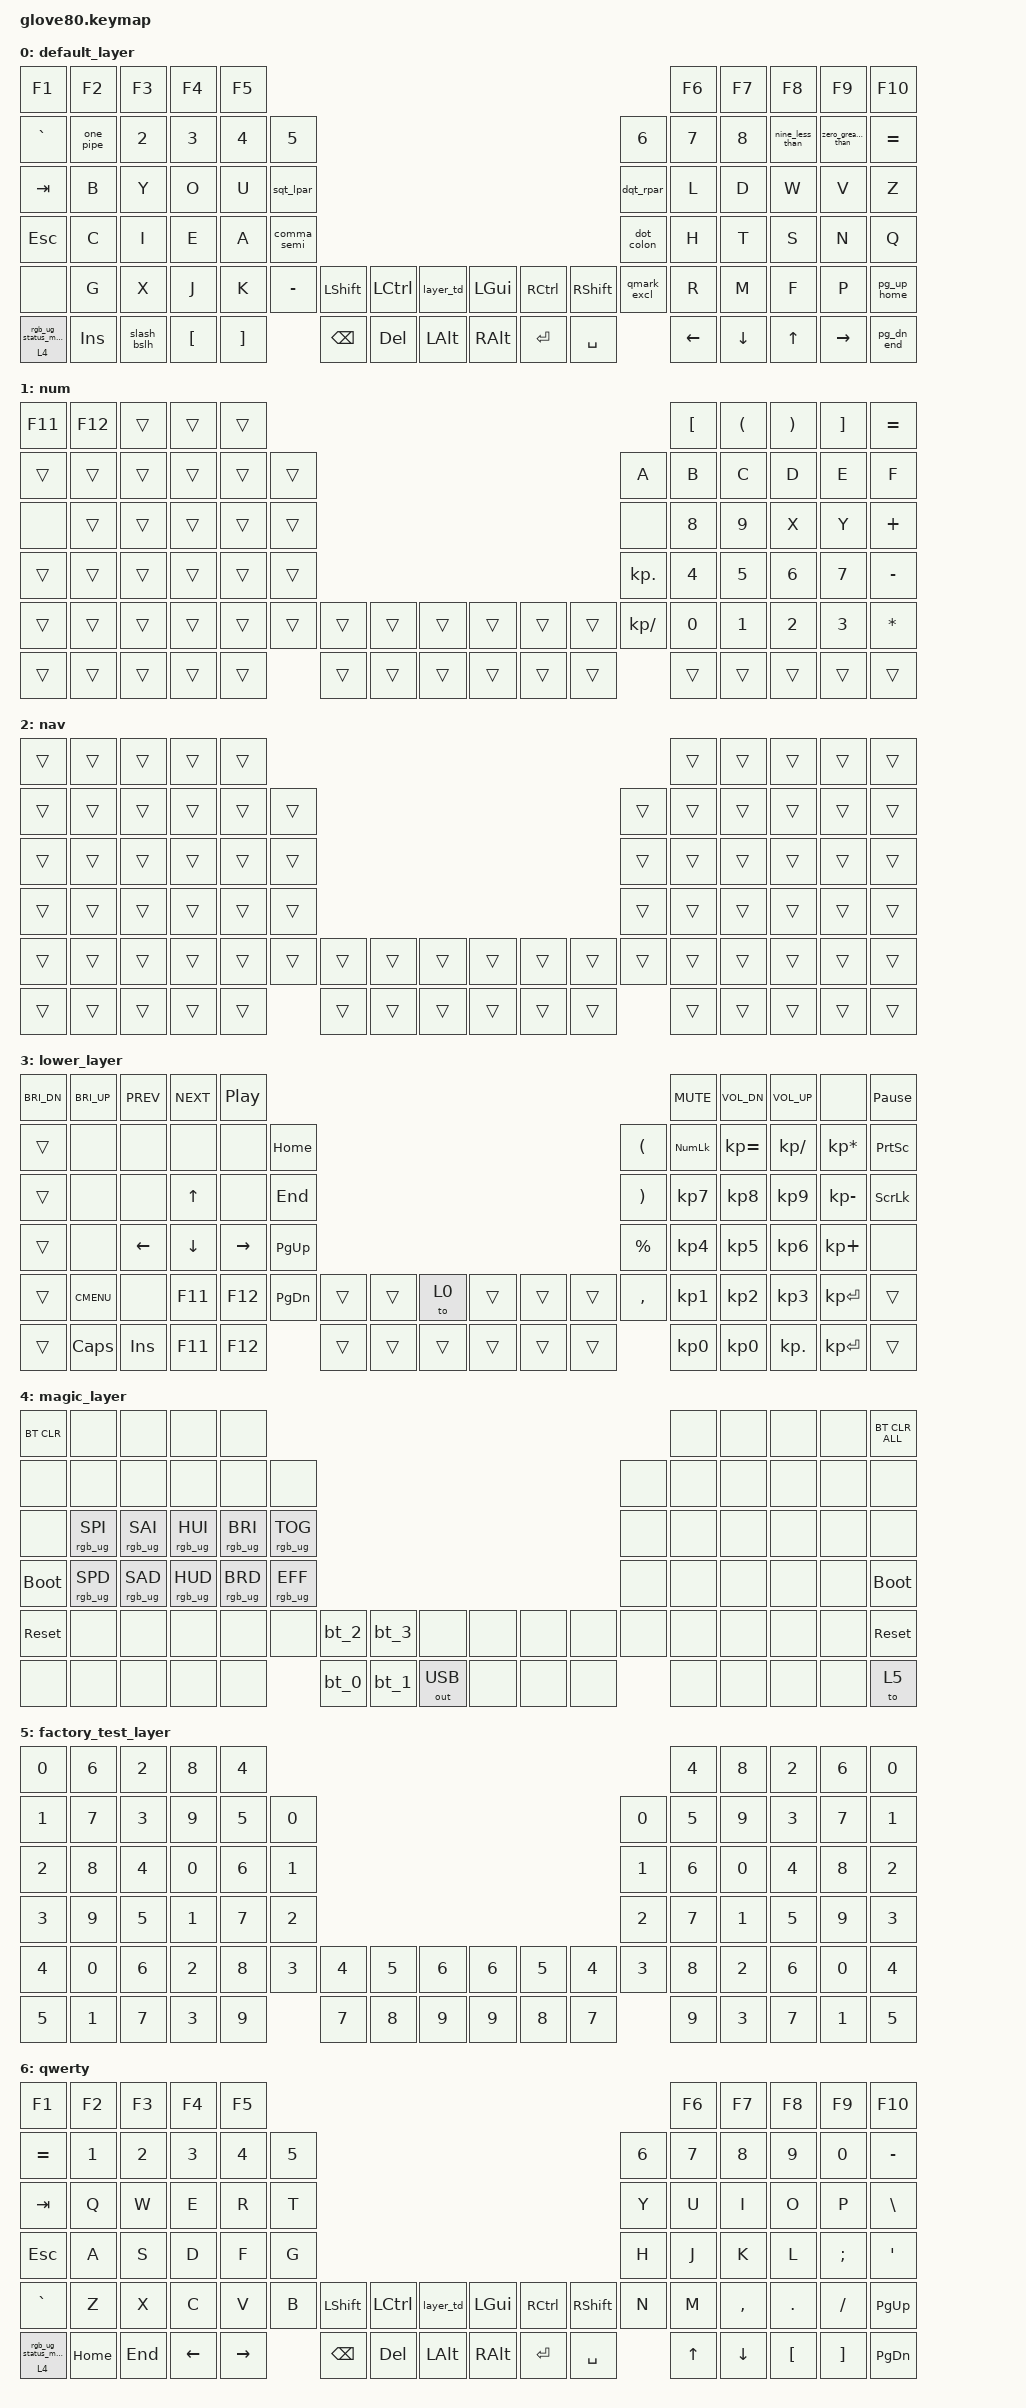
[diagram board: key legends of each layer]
/*
 * Copyright (c) 2020 The ZMK Contributors
 *
 * SPDX-License-Identifier: MIT
 */

#include "keys_dvorak.h"
#include "keys_ru.h"
#include <behaviors.dtsi>
#include <dt-bindings/zmk/bt.h>
#include <dt-bindings/zmk/keys.h>
#include <dt-bindings/zmk/outputs.h>
#include <dt-bindings/zmk/rgb.h>

#define HYPER LC(LS(LG(LALT)))

// layers

#define DEFAULT 0
#define LOWER 1
#define MAGIC 2
#define FACTORY_TEST 3

/ {
    behaviors {
        // For the "layer" key, it'd nice to be able to use it as either a shift or a toggle.
        // Configure it as a tap dance, so the first tap (or hold) is a &mo and the second tap is a &to

        layer_td: tap_dance_0 {
            compatible = "zmk,behavior-tap-dance";
            label = "LAYER_TAP_DANCE";
            #binding-cells = <0>;
            tapping-term-ms = <200>;
            bindings = <&mo 3>, <&to 3>;
        };

        magic: magic_hold_tap {
            compatible = "zmk,behavior-hold-tap";
            label = "MAGIC_HOLD_TAP";
            #binding-cells = <2>;
            flavor = "tap-preferred";
            tapping-term-ms = <200>;
            bindings = <&mo>, <&rgb_ug_status_macro>;
        };

        one_pipe: one_pipe {
            compatible = "zmk,behavior-mod-morph";
            label = "ONE_PIPE";
            bindings = <&kp N1>, <&kp PIPE>;

            #binding-cells = <0>;
            mods = <(MOD_LSFT|MOD_RSFT)>;
        };

        sqt_lpar: sqt_lpar {
            compatible = "zmk,behavior-mod-morph";
            label = "SQT_LPAR";
            bindings = <&kp SQT>, <&kp LPAR>;

            #binding-cells = <0>;
            mods = <(MOD_LSFT|MOD_RSFT)>;
        };

        comma_semi: comma_semi {
            compatible = "zmk,behavior-mod-morph";
            label = "COMMA_SEMI";
            bindings = <&kp COMMA>, <&kp SEMI>;

            #binding-cells = <0>;
            mods = <(MOD_LSFT|MOD_RSFT)>;
        };

        slash_bslh: slash_bslh {
            compatible = "zmk,behavior-mod-morph";
            label = "SLASH_BSLH";
            bindings = <&kp SLASH>, <&kp BSLH>;

            #binding-cells = <0>;
            mods = <(MOD_LSFT|MOD_RSFT)>;
        };

        nine_less_than: nine_less_than {
            compatible = "zmk,behavior-mod-morph";
            label = "NINE_LESS_THAN";
            bindings = <&kp N9>, <&kp LT>;

            #binding-cells = <0>;
            mods = <(MOD_LSFT|MOD_RSFT)>;
        };

        zero_greater_than: zero_greater_than {
            compatible = "zmk,behavior-mod-morph";
            label = "ZERO_GREATER_THAN";
            bindings = <&kp N0>, <&kp GT>;

            #binding-cells = <0>;
            mods = <(MOD_LSFT|MOD_RSFT)>;
        };

        dqt_rpar: dqt_rpar {
            compatible = "zmk,behavior-mod-morph";
            label = "DQT_RPAR";
            bindings = <&kp DQT>, <&kp RPAR>;

            #binding-cells = <0>;
            mods = <(MOD_LSFT|MOD_RSFT)>;
        };

        dot_colon: dot_colon {
            compatible = "zmk,behavior-mod-morph";
            label = "DOT_COLON";
            bindings = <&kp DOT>, <&kp COLON>;

            #binding-cells = <0>;
            mods = <(MOD_LSFT|MOD_RSFT)>;
        };

        qmark_excl: qmark_excl {
            compatible = "zmk,behavior-mod-morph";
            label = "QMARK_EXCL";
            bindings = <&kp QUESTION>, <&kp HOME>;

            #binding-cells = <0>;
            mods = <(MOD_LSFT|MOD_RSFT)>;
        };

        pg_up_home: pg_up_home {
            compatible = "zmk,behavior-mod-morph";
            label = "PG_UP_HOME";
            bindings = <&kp PG_UP>, <&kp HOME>;

            #binding-cells = <0>;
            mods = <(MOD_LSFT|MOD_RSFT)>;
        };

        pg_dn_end: pg_dn_end {
            compatible = "zmk,behavior-mod-morph";
            label = "PG_DN_END";
            bindings = <&kp PG_DN>, <&kp END>;

            #binding-cells = <0>;
            mods = <(MOD_LSFT|MOD_RSFT)>;
        };
    };

    macros {
        rgb_ug_status_macro: rgb_ug_status_macro_0 {
            label = "RGB_UG_STATUS";
            compatible = "zmk,behavior-macro";
            #binding-cells = <0>;
            bindings = <&rgb_ug RGB_STATUS>;
        };

        bt_0: bt_profile_macro_0 {
            label = "BT_0";
            compatible = "zmk,behavior-macro";
            #binding-cells = <0>;
            bindings = <&out OUT_BLE &bt BT_SEL 0>;
        };

        bt_1: bt_profile_macro_1 {
            label = "BT_1";
            compatible = "zmk,behavior-macro";
            #binding-cells = <0>;
            bindings = <&out OUT_BLE &bt BT_SEL 1>;
        };

        bt_2: bt_profile_macro_2 {
            label = "BT_2";
            compatible = "zmk,behavior-macro";
            #binding-cells = <0>;
            bindings = <&out OUT_BLE &bt BT_SEL 2>;
        };

        bt_3: bt_profile_macro_3 {
            label = "BT_3";
            compatible = "zmk,behavior-macro";
            #binding-cells = <0>;
            bindings = <&out OUT_BLE &bt BT_SEL 3>;
        };
    };

    keymap {
        compatible = "zmk,keymap";

        default_layer {
            // ---------------------------------------------------------------------------------------------------------------------------------
            // |  F1   |  F2 |  F3 |  F4  |  F5  |                                                               |  F6   |  F7   |  F8  |   F9  |  F10 |
            // |  =    |  1  |  2  |  3   |  4   |  5   |                                                 |  6   |   7   |   8   |  9   |   0   |   -  |
            // |  TAB  |  Q  |  W  |  E   |  R   |  T   |                                                 |  Y   |   U   |   I   |  O   |   P   |   \  |
            // |  ESC  |  A  |  S  |  D   |  F   |  G   |                                                 |  H   |   J   |   K   |  L   |   ;   |   '  |
            // |   `   |  Z  |  X  |  C   |  V   |  B   | LSHFT | LCTRL | LOWER | | LGUI  | RCTRL | RSHFT |  N   |   M   |   ,   |  .   |   /   | PGUP |
            // | MAGIC | HOME| END | LEFT | RIGHT|      | BSPC  | DEL   | LALT  | | RALT  | RET   | SPACE |      |  UP   | DOWN  |  [   |   ]   | PGDN |

            bindings = <
&kp F1      &kp F2     &kp F3       &kp F4            &kp F5                                                                                                        &kp F6          &kp F7    &kp F8           &kp F9              &kp F10
&kp GRAVE   &one_pipe  &kp N2       &kp N3            &kp N4             &kp N5                                                                        &kp N6       &kp N7          &kp N8    &nine_less_than  &zero_greater_than  &kp EQUAL
&kp TAB     &kp B      &kp Y        &kp O             &kp U              &sqt_lpar                                                                     &dqt_rpar    &kp L           &kp D     &kp W            &kp V               &kp Z
&kp ESC     &kp C      &kp I        &kp E             &kp A              &comma_semi                                                                   &dot_colon   &kp H           &kp T     &kp S            &kp N               &kp Q
&none       &kp G      &kp X        &kp J             &kp K              &kp MINUS    &kp LSHFT  &kp LCTRL  &layer_td  &kp LGUI  &kp RCTRL  &kp RSHFT  &qmark_excl  &kp R           &kp M     &kp F            &kp P               &pg_up_home
&magic 4 0  &kp INS    &slash_bslh  &kp LEFT_BRACKET  &kp RIGHT_BRACKET               &kp BSPC   &kp DEL    &kp LALT   &kp RALT  &kp RET    &kp SPACE               &kp LEFT_ARROW  &kp DOWN  &kp UP_ARROW     &kp RIGHT_ARROW     &pg_dn_end
            >;
        };

        num {
            bindings = <
&kp F11  &kp F12  &trans  &trans  &trans                                                                        &kp LEFT_BRACKET  &kp LPAR  &kp RPAR  &kp RBKT  &kp EQUAL
&trans   &trans   &trans  &trans  &trans  &trans                                                  &kp A         &kp B             &kp C     &kp D     &kp E     &kp F
&none    &trans   &trans  &trans  &trans  &trans                                                  &none         &kp N8            &kp N9    &kp X     &kp Y     &kp PLUS
&trans   &trans   &trans  &trans  &trans  &trans                                                  &kp KP_DOT    &kp N4            &kp N5    &kp N6    &kp N7    &kp MINUS
&trans   &trans   &trans  &trans  &trans  &trans  &trans  &trans  &trans  &trans  &trans  &trans  &kp KP_SLASH  &kp N0            &kp N1    &kp N2    &kp N3    &kp ASTRK
&trans   &trans   &trans  &trans  &trans          &trans  &trans  &trans  &trans  &trans  &trans                &trans            &trans    &trans    &trans    &trans
            >;
        };

        nav {
            bindings = <
&trans  &trans  &trans  &trans  &trans                                                                  &trans  &trans  &trans  &trans  &trans
&trans  &trans  &trans  &trans  &trans  &trans                                                  &trans  &trans  &trans  &trans  &trans  &trans
&trans  &trans  &trans  &trans  &trans  &trans                                                  &trans  &trans  &trans  &trans  &trans  &trans
&trans  &trans  &trans  &trans  &trans  &trans                                                  &trans  &trans  &trans  &trans  &trans  &trans
&trans  &trans  &trans  &trans  &trans  &trans  &trans  &trans  &trans  &trans  &trans  &trans  &trans  &trans  &trans  &trans  &trans  &trans
&trans  &trans  &trans  &trans  &trans          &trans  &trans  &trans  &trans  &trans  &trans          &trans  &trans  &trans  &trans  &trans
            >;
        };

        lower_layer {
            bindings = <
&kp C_BRI_DN  &kp C_BRI_UP  &kp C_PREV  &kp C_NEXT  &kp C_PP                                                                         &kp C_MUTE  &kp C_VOL_DN  &kp C_VOL_UP   &none            &kp PAUSE_BREAK
&trans        &none         &none       &none       &none      &kp HOME                                                   &kp LPAR   &kp KP_NUM  &kp KP_EQUAL  &kp KP_DIVIDE  &kp KP_MULTIPLY  &kp PSCRN
&trans        &none         &none       &kp UP      &none      &kp END                                                    &kp RPAR   &kp KP_N7   &kp KP_N8     &kp KP_N9      &kp KP_MINUS     &kp SLCK
&trans        &none         &kp LEFT    &kp DOWN    &kp RIGHT  &kp PG_UP                                                  &kp PRCNT  &kp KP_N4   &kp KP_N5     &kp KP_N6      &kp KP_PLUS      &none
&trans        &kp K_CMENU   &none       &kp F11     &kp F12    &kp PG_DN  &trans  &trans  &to 0   &trans  &trans  &trans  &kp COMMA  &kp KP_N1   &kp KP_N2     &kp KP_N3      &kp KP_ENTER     &trans
&trans        &kp CAPS      &kp INS     &kp F11     &kp F12               &trans  &trans  &trans  &trans  &trans  &trans             &kp KP_N0   &kp KP_N0     &kp KP_DOT     &kp KP_ENTER     &trans
            >;
        };

        magic_layer {
            bindings = <
&bt BT_CLR   &none            &none            &none            &none                                                                                     &none  &none  &none  &none  &bt BT_CLR_ALL
&none        &none            &none            &none            &none            &none                                                             &none  &none  &none  &none  &none  &none
&none        &rgb_ug RGB_SPI  &rgb_ug RGB_SAI  &rgb_ug RGB_HUI  &rgb_ug RGB_BRI  &rgb_ug RGB_TOG                                                   &none  &none  &none  &none  &none  &none
&bootloader  &rgb_ug RGB_SPD  &rgb_ug RGB_SAD  &rgb_ug RGB_HUD  &rgb_ug RGB_BRD  &rgb_ug RGB_EFF                                                   &none  &none  &none  &none  &none  &bootloader
&sys_reset   &none            &none            &none            &none            &none            &bt_2  &bt_3  &none         &none  &none  &none  &none  &none  &none  &none  &none  &sys_reset
&none        &none            &none            &none            &none                             &bt_0  &bt_1  &out OUT_USB  &none  &none  &none         &none  &none  &none  &none  &to 5
            >;
        };

        factory_test_layer {
            bindings = <
&kp N0  &kp N6  &kp N2  &kp N8  &kp N4                                                                  &kp N4  &kp N8  &kp N2  &kp N6  &kp N0
&kp N1  &kp N7  &kp N3  &kp N9  &kp N5  &kp N0                                                  &kp N0  &kp N5  &kp N9  &kp N3  &kp N7  &kp N1
&kp N2  &kp N8  &kp N4  &kp N0  &kp N6  &kp N1                                                  &kp N1  &kp N6  &kp N0  &kp N4  &kp N8  &kp N2
&kp N3  &kp N9  &kp N5  &kp N1  &kp N7  &kp N2                                                  &kp N2  &kp N7  &kp N1  &kp N5  &kp N9  &kp N3
&kp N4  &kp N0  &kp N6  &kp N2  &kp N8  &kp N3  &kp N4  &kp N5  &kp N6  &kp N6  &kp N5  &kp N4  &kp N3  &kp N8  &kp N2  &kp N6  &kp N0  &kp N4
&kp N5  &kp N1  &kp N7  &kp N3  &kp N9          &kp N7  &kp N8  &kp N9  &kp N9  &kp N8  &kp N7          &kp N9  &kp N3  &kp N7  &kp N1  &kp N5
            >;
        };

        qwerty {
            bindings = <
&kp F1      &kp F2    &kp F3   &kp F4    &kp F5                                                                                      &kp F6  &kp F7     &kp F8    &kp F9    &kp F10
&kp EQUAL   &kp N1    &kp N2   &kp N3    &kp N4     &kp N5                                                                   &kp N6  &kp N7  &kp N8     &kp N9    &kp N0    &kp MINUS
&kp TAB     &kp Q     &kp W    &kp E     &kp R      &kp T                                                                    &kp Y   &kp U   &kp I      &kp O     &kp P     &kp BSLH
&kp ESC     &kp A     &kp S    &kp D     &kp F      &kp G                                                                    &kp H   &kp J   &kp K      &kp L     &kp SEMI  &kp SQT
&kp GRAVE   &kp Z     &kp X    &kp C     &kp V      &kp B   &kp LSHFT  &kp LCTRL  &layer_td  &kp LGUI  &kp RCTRL  &kp RSHFT  &kp N   &kp M   &kp COMMA  &kp DOT   &kp FSLH  &kp PG_UP
&magic 4 0  &kp HOME  &kp END  &kp LEFT  &kp RIGHT          &kp BSPC   &kp DEL    &kp LALT   &kp RALT  &kp RET    &kp SPACE          &kp UP  &kp DOWN   &kp LBKT  &kp RBKT  &kp PG_DN
            >;
        };
    };
};
